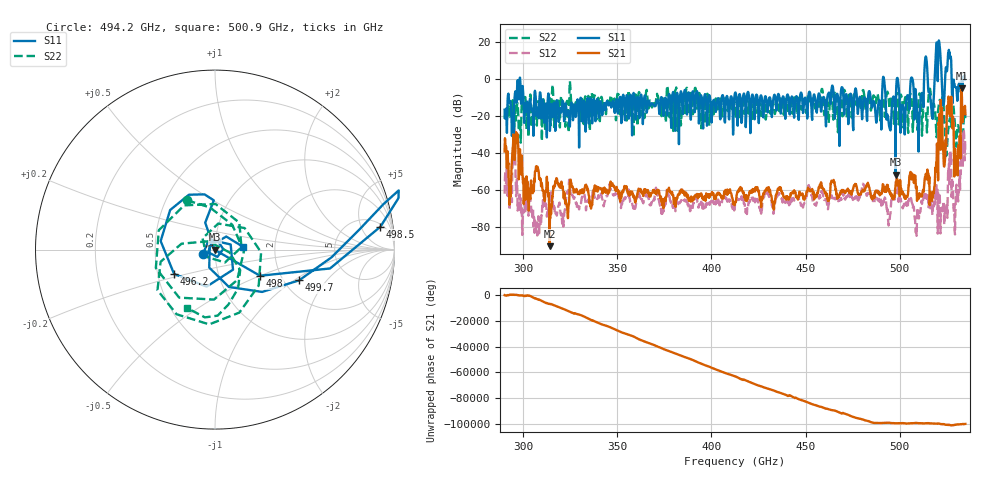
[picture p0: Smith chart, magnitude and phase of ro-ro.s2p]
!Created with skrf (http://scikit-rf.org).
# GHz S RI R 50.0
!freq ReS11 ImS11 ReS21 ImS21 ReS12 ImS12 ReS22 ImS22
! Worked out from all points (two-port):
!   1201 points, 290 GHz to 535 GHz, reference 50 ohm
!   highest |S21| = -4.97 dB at 533 GHz (marker M1); lowest = -90.2 dB at 313.9 GHz (marker M2)
!   |S21| within 3 dB of the highest: 532.7328 GHz to 533.0787 GHz (345.9 MHz wide, 0.0649 % of centre)
!   lowest |S11| = -51.5 dB at 497.8 GHz (marker M3), VSWR 1.01, Z = 49.7 - j0.053 ohm
!   |S11| at or under -10 dB: 313.5 GHz to 351.2 GHz (37.64 GHz wide, 11.3 % of centre); 364.9 GHz to 373.2 GHz (8.333 GHz wide, 2.26 % of centre); 399.2 GHz to 405.5 GHz (6.26 GHz wide, 1.56 % of centre)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
!   |S22| runs from -41.5 to -1.1 dB; largest |S21 - S12| = 0.54
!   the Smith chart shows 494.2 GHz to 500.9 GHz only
!   S11 on the Smith chart (normalised r, x): 494.2 GHz: 0.87, -0.04; 496.2 GHz: 0.61, -0.18; 498 GHz: 1.57, -0.50; 498.5 GHz: 6, +11; 499.7 GHz: 2.41, -1.10; 500.9 GHz: 1.38, +0.04
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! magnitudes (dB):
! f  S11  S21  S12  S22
! 290 GHz  -16.5  -39.1  -61.9  -21.4
! 313.9 GHz  -16.5  -90.2  -70.8  -10.1
! 331 GHz  -13.6  -60.7  -64.0  -10.7
! 371.7 GHz  -12.9  -60.5  -62.2  -9.9
! 412.5 GHz  -7.5  -67.3  -67.5  -16.6
! 453.5 GHz  -22.0  -59.3  -63.9  -10.7
! 494.2 GHz  -23.0  -60.0  -79.0  -10.0
! 496.2 GHz  -11.5  -64.5  -63.8  -11.9
! 497.8 GHz  -51.5  -57.7  -62.4  -11.8
! 498 GHz  -10.8  -55.4  -62.3  -10.0
! 498.5 GHz  -0.6  -53.9  -60.9  -7.6
! 499.7 GHz  -6.0  -56.9  -62.2  -21.6
! 500.9 GHz  -16.0  -59.1  -66.4  -8.9
! 510.3 GHz  -28.1  -63.7  -75.2  -8.9
! 514.2 GHz  11.6  -51.9  -64.5  -20.3
! 517.2 GHz  -18.8  -65.8  -67.1  -19.9
! 520.5 GHz  15.1  -54.6  -60.9  -16.7
! 523.4 GHz  -13.6  -42.0  -66.0  -13.4
! 526.4 GHz  12.7  -11.3  -56.7  -22.8
! 530.3 GHz  -5.7  -50.2  -57.0  -33.9
! 533 GHz  -2.4  -5.0  -31.4  -31.8
! 535 GHz  -0.3  -19.0  -40.9  -21.1
